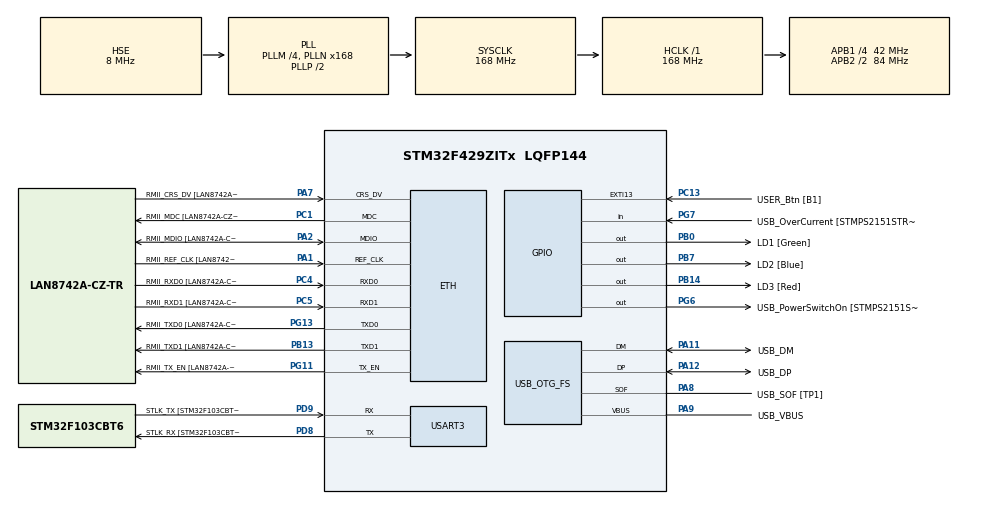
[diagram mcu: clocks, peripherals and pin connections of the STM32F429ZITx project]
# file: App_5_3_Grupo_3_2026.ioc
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ETH.MediaInterface=HAL_ETH_RMII_MODE
ETH.PHY_Name=LAN8742A_PHY_ADDRESS
ETH.PHY_Value=0
ETH.PhyAddress=0
Mcu.Family=STM32F4
Mcu.Name=STM32F429ZITx
Mcu.Package=LQFP144
NVIC.PriorityGroup=NVIC_PRIORITYGROUP_4
PA1.GPIO_Label=RMII_REF_CLK [LAN8742A-CZ-TR_REFCLK0]
PA1.Mode=RMII
PA1.Signal=ETH_REF_CLK
PA10.GPIO_Label=USB_ID
PA10.Signal=USB_OTG_FS_ID
PA11.GPIO_Label=USB_DM
PA11.Mode=Device_Only
PA11.Signal=USB_OTG_FS_DM
PA12.GPIO_Label=USB_DP
PA12.Mode=Device_Only
PA12.Signal=USB_OTG_FS_DP
PA13.GPIO_Label=TMS
PA13.Mode=Serial_Wire
PA13.Signal=SYS_JTMS-SWDIO
PA14.GPIO_Label=TCK
PA14.Mode=Serial_Wire
PA14.Signal=SYS_JTCK-SWCLK
PA2.GPIO_Label=RMII_MDIO [LAN8742A-CZ-TR_MDIO]
PA2.Mode=RMII
PA2.Signal=ETH_MDIO
PA7.GPIO_Label=RMII_CRS_DV [LAN8742A-CZ-TR_CRS_DV]
PA7.Mode=RMII
PA7.Signal=ETH_CRS_DV
PA8.GPIO_Label=USB_SOF [TP1]
PA8.Mode=Activate_SOF_FS
PA8.Signal=USB_OTG_FS_SOF
PA9.GPIO_Label=USB_VBUS
PA9.Mode=Activate_VBUS
PA9.Signal=USB_OTG_FS_VBUS
PB0.GPIO_Label=LD1 [Green]
PB0.Signal=GPIO_Output
PB13.GPIO_Label=RMII_TXD1 [LAN8742A-CZ-TR_TXD1]
PB13.Mode=RMII
PB13.Signal=ETH_TXD1
PB14.GPIO_Label=LD3 [Red]
PB14.Signal=GPIO_Output
PB7.GPIO_Label=LD2 [Blue]
PB7.Signal=GPIO_Output
PC1.GPIO_Label=RMII_MDC [LAN8742A-CZ-TR_MDC]
PC1.Mode=RMII
PC1.Signal=ETH_MDC
PC13.GPIO_Label=USER_Btn [B1]
PC13.Signal=GPXTI13
PC14/OSC32_IN.Mode=LSE-External-Oscillator
PC14/OSC32_IN.Signal=RCC_OSC32_IN
PC15/OSC32_OUT.Mode=LSE-External-Oscillator
PC15/OSC32_OUT.Signal=RCC_OSC32_OUT
PC4.GPIO_Label=RMII_RXD0 [LAN8742A-CZ-TR_RXD0]
PC4.Mode=RMII
PC4.Signal=ETH_RXD0
PC5.GPIO_Label=RMII_RXD1 [LAN8742A-CZ-TR_RXD1]
PC5.Mode=RMII
PC5.Signal=ETH_RXD1
PD8.GPIO_Label=STLK_RX [STM32F103CBT6_PA3]
PD8.Mode=Asynchronous
PD8.Signal=USART3_TX
PD9.GPIO_Label=STLK_TX [STM32F103CBT6_PA2]
PD9.Mode=Asynchronous
PD9.Signal=USART3_RX
PG11.GPIO_Label=RMII_TX_EN [LAN8742A-CZ-TR_TXEN]
PG11.Mode=RMII
PG11.Signal=ETH_TX_EN
PG13.GPIO_Label=RMII_TXD0 [LAN8742A-CZ-TR_TXD0]
PG13.Mode=RMII
PG13.Signal=ETH_TXD0
PG6.GPIO_Label=USB_PowerSwitchOn [STMPS2151STR_EN]
PG6.Signal=GPIO_Output
PG7.GPIO_Label=USB_OverCurrent [STMPS2151STR_FAULT]
PG7.Signal=GPIO_Input
PH0/OSC_IN.GPIO_Label=MCO [STM32F103CBT6_PA8]
PH0/OSC_IN.Mode=HSE-External-Clock-Source
PH0/OSC_IN.Signal=RCC_OSC_IN
PH1/OSC_OUT.Mode=HSE-External-Clock-Source
PH1/OSC_OUT.Signal=RCC_OSC_OUT
ProjectManager.HeapSize=0x200
ProjectManager.StackSize=0x400
ProjectManager.TargetToolchain=STM32CubeIDE
RCC.48MHZClocksFreq_Value=48000000
RCC.AHBFreq_Value=168000000
RCC.APB1CLKDivider=RCC_HCLK_DIV4
RCC.APB1Freq_Value=42000000
RCC.APB1TimFreq_Value=84000000
RCC.APB2CLKDivider=RCC_HCLK_DIV2
RCC.APB2Freq_Value=84000000
RCC.APB2TimCLKDivider=2
RCC.APB2TimFreq_Value=168000000
RCC.CortexFreq_Value=168000000
RCC.HCLKFreq_Value=168000000
RCC.HSE_VALUE=8000000
RCC.HSI_VALUE=16000000
RCC.PLLM=4
RCC.PLLMUL=RCC_PLL_MUL9
RCC.PLLN=168
RCC.PLLQ=7
RCC.PRESCALERUSB=RCC_USBCLKSOURCE_PLL_DIV1_5
RCC.SYSCLKFreq_VALUE=168000000
RCC.SYSCLKSource=RCC_SYSCLKSOURCE_PLLCLK
RCC.SYSCLKSourceVirtual=RCC_SYSCLKSOURCE_PLLCLK
RCC.USBFreq_Value=48000000
RCC.VCOOutputFreq_Value=336000000
USART3.VirtualMode=VM_ASYNC
USB_OTG_FS.VirtualMode=Device_Only
board=NUCLEO-F429ZI

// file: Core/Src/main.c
/* USER CODE BEGIN Header */
/**
  ******************************************************************************
  * @file           : main.c
  * @brief          : Main program body
  ******************************************************************************
  * App_5_3_Grupo_3_2026 - AFP5 - Antirrebote por MEF (API_debounce)
  *
  * Aplicacion (refactor de App_4_3 con driver de antirrebote): el pulsador
  * onboard alterna entre cuatro secuencias distintas de los 3 leds:
  *   Secuencia 1: encendido secuencial LD1->LD2->LD3, alternancia de 150 ms.
  *   Secuencia 2: los tres leds parpadean simultaneamente, alternancia 300 ms.
  *   Secuencia 3: LD1 parpadea a 100 ms, LD2 a 300 ms y LD3 a 600 ms
  *                (un retardo no bloqueante independiente por led).
  *   Secuencia 4: LD1 y LD3 parpadean juntos y LD2 en forma inversa, 150 ms.
  * El cambio de secuencia se produce por pulsacion validada por la maquina de
  * estados de API_debounce (40 ms de antirrebote).
  * Se usan los tres drivers apilados: API_debounce -> API_delay -> API_GPIO.
  ******************************************************************************
  * @attention
  *
  * Copyright (c) 2026 STMicroelectronics.
  * All rights reserved.
  *
  * This software is licensed under terms that can be found in the LICENSE file
  * in the root directory of this software component.
  * If no LICENSE file comes with this software, it is provided AS-IS.
  *
  ******************************************************************************
  */
/* USER CODE END Header */
#include "main.h"
#include "string.h"
#include "API_GPIO.h"
#include "API_delay.h"
#include "API_debounce.h"

/* USER CODE BEGIN PD */
#define LED_COUNT	3		/* Cantidad de leds del vector */
#define SEQ_COUNT	4		/* Cantidad de secuencias disponibles */
/* USER CODE END PD */

ETH_TxPacketConfig TxConfig;
ETH_DMADescTypeDef  DMARxDscrTab[ETH_RX_DESC_CNT]; /* Ethernet Rx DMA Descriptors */
ETH_DMADescTypeDef  DMATxDscrTab[ETH_TX_DESC_CNT]; /* Ethernet Tx DMA Descriptors */

ETH_HandleTypeDef heth;

UART_HandleTypeDef huart3;

PCD_HandleTypeDef hpcd_USB_OTG_FS;

/* USER CODE BEGIN PV */
/* Vector de leds de la placa: con este formato la app queda general y puede
 * extenderse a mas leds con minimas modificaciones (solo agregar elementos) */
led_t leds[LED_COUNT] = {
	{LD1_GPIO_Port, LD1_Pin},
	{LD2_GPIO_Port, LD2_Pin},
	{LD3_GPIO_Port, LD3_Pin}
};

const button_t userButton = {USER_Btn_GPIO_Port, USER_Btn_Pin};

/* Tiempos de alternancia de cada secuencia [ms].
 * La secuencia 3 no usa este vector: tiene un retardo independiente por led. */
const tick_t tiempoSecuencia[SEQ_COUNT] = {150, 300, 0, 150};

/* Periodos independientes de cada led para la secuencia 3 [ms] */
const tick_t periodoLed[LED_COUNT] = {100, 300, 600};

delay_t delaySecuencia;		/* Retardo comun de las secuencias 1, 2 y 4 */
delay_t delayLed[LED_COUNT];	/* Un retardo por led para la secuencia 3 */

uint8_t secuencia = 0;		/* Secuencia activa: 0..SEQ_COUNT-1 */
uint8_t indice = 0;			/* Indice del led en la secuencia 1 */
bool ledEncendido = false;	/* Estado de fase (secuencias 1 y 4) */
/* USER CODE END PV */

void SystemClock_Config(void);
/* El prototipo de MX_GPIO_Init() paso al driver: ver API_GPIO.h */
static void MX_ETH_Init(void);
static void MX_USART3_UART_Init(void);
static void MX_USB_OTG_FS_PCD_Init(void);
/* USER CODE BEGIN PFP */
static void reiniciarEstado(void);
/* USER CODE END PFP */

int main(void)
{

  /* MCU Configuration--------------------------------------------------------*/

  /* Reset of all peripherals, Initializes the Flash interface and the Systick. */
  HAL_Init();

  /* Configure the system clock */
  SystemClock_Config();

  /* Initialize all configured peripherals */
  MX_GPIO_Init();
  MX_ETH_Init();
  MX_USART3_UART_Init();
  MX_USB_OTG_FS_PCD_Init();
  /* USER CODE BEGIN 2 */
  debounceFSM_init();
  reiniciarEstado();
  /* USER CODE END 2 */

  /* Infinite loop */
  /* USER CODE BEGIN WHILE */
  while (1)
  {
	  /* La MEF filtra el rebote y dispara buttonPressed() en cada pulsacion */
	  debounceFSM_update(readButton_GPIO(userButton));

	  switch (secuencia)
	  {
	  case 0:	/* Secuencia 1: encendido secuencial, 150 ms por led */
		  if (delayRead(&delaySecuencia))
		  {
			  if (!ledEncendido)
			  {
				  writeLedOn_GPIO(leds[indice]);
				  ledEncendido = true;
			  }
			  else
			  {
				  writeLedOff_GPIO(leds[indice]);
				  ledEncendido = false;
				  indice = (indice + 1) % LED_COUNT;
			  }
		  }
		  break;

	  case 1:	/* Secuencia 2: los 3 leds parpadean juntos, 300 ms */
		  if (delayRead(&delaySecuencia))
		  {
			  for (uint8_t i = 0; i < LED_COUNT; i++)
			  {
				  toggleLed_GPIO(leds[i]);
			  }
		  }
		  break;

	  case 2:	/* Secuencia 3: periodos independientes por led (100/300/600 ms) */
		  for (uint8_t i = 0; i < LED_COUNT; i++)
		  {
			  if (delayRead(&delayLed[i]))
			  {
				  toggleLed_GPIO(leds[i]);
			  }
		  }
		  break;

	  case 3:	/* Secuencia 4: LD1+LD3 juntos y LD2 inverso, 150 ms */
		  if (delayRead(&delaySecuencia))
		  {
			  ledEncendido = !ledEncendido;
			  if (ledEncendido)
			  {
				  writeLedOn_GPIO(leds[0]);
				  writeLedOff_GPIO(leds[1]);
				  writeLedOn_GPIO(leds[2]);
			  }
			  else
			  {
				  writeLedOff_GPIO(leds[0]);
				  writeLedOn_GPIO(leds[1]);
				  writeLedOff_GPIO(leds[2]);
			  }
		  }
		  break;

	  default:
		  secuencia = 0;
		  break;
	  }
    /* USER CODE END WHILE */

  }
}

void SystemClock_Config(void)
{
  RCC_OscInitTypeDef RCC_OscInitStruct = {0};
  RCC_ClkInitTypeDef RCC_ClkInitStruct = {0};

  /** Configure the main internal regulator output voltage
  */
  __HAL_RCC_PWR_CLK_ENABLE();
  __HAL_PWR_VOLTAGESCALING_CONFIG(PWR_REGULATOR_VOLTAGE_SCALE1);

  /** Initializes the RCC Oscillators according to the specified parameters
  * in the RCC_OscInitTypeDef structure.
  */
  RCC_OscInitStruct.OscillatorType = RCC_OSCILLATORTYPE_HSE;
  RCC_OscInitStruct.HSEState = RCC_HSE_BYPASS;
  RCC_OscInitStruct.PLL.PLLState = RCC_PLL_ON;
  RCC_OscInitStruct.PLL.PLLSource = RCC_PLLSOURCE_HSE;
  RCC_OscInitStruct.PLL.PLLM = 4;
  RCC_OscInitStruct.PLL.PLLN = 168;
  RCC_OscInitStruct.PLL.PLLP = RCC_PLLP_DIV2;
  RCC_OscInitStruct.PLL.PLLQ = 7;
  if (HAL_RCC_OscConfig(&RCC_OscInitStruct) != HAL_OK)
  {
    Error_Handler();
  }

  /** Initializes the CPU, AHB and APB buses clocks
  */
  RCC_ClkInitStruct.ClockType = RCC_CLOCKTYPE_HCLK|RCC_CLOCKTYPE_SYSCLK
                              |RCC_CLOCKTYPE_PCLK1|RCC_CLOCKTYPE_PCLK2;
  RCC_ClkInitStruct.SYSCLKSource = RCC_SYSCLKSOURCE_PLLCLK;
  RCC_ClkInitStruct.AHBCLKDivider = RCC_SYSCLK_DIV1;
  RCC_ClkInitStruct.APB1CLKDivider = RCC_HCLK_DIV4;
  RCC_ClkInitStruct.APB2CLKDivider = RCC_HCLK_DIV2;

  if (HAL_RCC_ClockConfig(&RCC_ClkInitStruct, FLASH_LATENCY_5) != HAL_OK)
  {
    Error_Handler();
  }
}

static void MX_ETH_Init(void)
{

   static uint8_t MACAddr[6];

  heth.Instance = ETH;
  MACAddr[0] = 0x00;
  MACAddr[1] = 0x80;
  MACAddr[2] = 0xE1;
  MACAddr[3] = 0x00;
  MACAddr[4] = 0x00;
  MACAddr[5] = 0x00;
  heth.Init.MACAddr = &MACAddr[0];
  heth.Init.MediaInterface = HAL_ETH_RMII_MODE;
  heth.Init.TxDesc = DMATxDscrTab;
  heth.Init.RxDesc = DMARxDscrTab;
  heth.Init.RxBuffLen = 1524;

  if (HAL_ETH_Init(&heth) != HAL_OK)
  {
    Error_Handler();
  }

  memset(&TxConfig, 0 , sizeof(ETH_TxPacketConfig));
  TxConfig.Attributes = ETH_TX_PACKETS_FEATURES_CSUM | ETH_TX_PACKETS_FEATURES_CRCPAD;
  TxConfig.ChecksumCtrl = ETH_CHECKSUM_IPHDR_PAYLOAD_INSERT_PHDR_CALC;
  TxConfig.CRCPadCtrl = ETH_CRC_PAD_INSERT;

}

static void MX_USART3_UART_Init(void)
{

  huart3.Instance = USART3;
  huart3.Init.BaudRate = 115200;
  huart3.Init.WordLength = UART_WORDLENGTH_8B;
  huart3.Init.StopBits = UART_STOPBITS_1;
  huart3.Init.Parity = UART_PARITY_NONE;
  huart3.Init.Mode = UART_MODE_TX_RX;
  huart3.Init.HwFlowCtl = UART_HWCONTROL_NONE;
  huart3.Init.OverSampling = UART_OVERSAMPLING_16;
  if (HAL_UART_Init(&huart3) != HAL_OK)
  {
    Error_Handler();
  }

}

static void MX_USB_OTG_FS_PCD_Init(void)
{

  hpcd_USB_OTG_FS.Instance = USB_OTG_FS;
  hpcd_USB_OTG_FS.Init.dev_endpoints = 4;
  hpcd_USB_OTG_FS.Init.speed = PCD_SPEED_FULL;
  hpcd_USB_OTG_FS.Init.dma_enable = DISABLE;
  hpcd_USB_OTG_FS.Init.phy_itface = PCD_PHY_EMBEDDED;
  hpcd_USB_OTG_FS.Init.Sof_enable = ENABLE;
  hpcd_USB_OTG_FS.Init.low_power_enable = DISABLE;
  hpcd_USB_OTG_FS.Init.lpm_enable = DISABLE;
  hpcd_USB_OTG_FS.Init.vbus_sensing_enable = ENABLE;
  hpcd_USB_OTG_FS.Init.use_dedicated_ep1 = DISABLE;
  if (HAL_PCD_Init(&hpcd_USB_OTG_FS) != HAL_OK)
  {
    Error_Handler();
  }

}

/* USER CODE BEGIN 4 */
/**
  * @brief Accion de pulsacion validada por la MEF: avanza a la siguiente
  *        secuencia y reinicia el estado para arrancar limpio.
  *        Implementada por la aplicacion.
  * @retval None
  */
void buttonPressed(void)
{
	secuencia = (secuencia + 1) % SEQ_COUNT;
	reiniciarEstado();
}

/**
  * @brief Accion de liberacion validada por la MEF: sin accion en esta app.
  * @retval None
  */
void buttonReleased(void)
{
	/* Sin accion asociada en esta aplicacion */
}

/**
  * @brief Apaga todos los leds, reinicia las variables de estado e inicializa
  *        todos los retardos. Se ejecuta al iniciar la app y cada vez que se
  *        cambia de secuencia, para arrancar desde una condicion conocida.
  * @retval None
  */
static void reiniciarEstado(void)
{
	for (uint8_t i = 0; i < LED_COUNT; i++)
	{
		writeLedOff_GPIO(leds[i]);
		delayInit(&delayLed[i], periodoLed[i]);
	}
	delayInit(&delaySecuencia, tiempoSecuencia[secuencia]);
	indice = 0;
	ledEncendido = false;
}
/* USER CODE END 4 */

void Error_Handler(void)
{
  __disable_irq();
  while (1)
  {
  }
}
